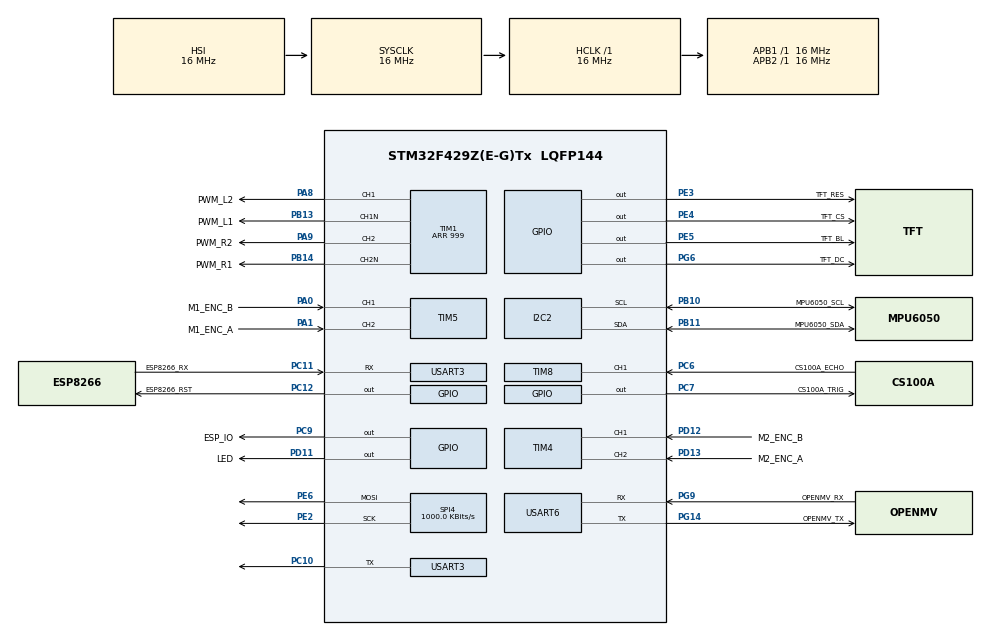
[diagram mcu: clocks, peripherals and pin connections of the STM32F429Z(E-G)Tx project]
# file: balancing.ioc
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Dma.Request0=USART3_RX
Dma.Request1=USART6_RX
Dma.USART3_RX.0.Direction=DMA_PERIPH_TO_MEMORY
Dma.USART3_RX.0.FIFOMode=DMA_FIFOMODE_DISABLE
Dma.USART3_RX.0.Instance=DMA1_Stream1
Dma.USART3_RX.0.MemDataAlignment=DMA_MDATAALIGN_BYTE
Dma.USART3_RX.0.MemInc=DMA_MINC_ENABLE
Dma.USART3_RX.0.Mode=DMA_CIRCULAR
Dma.USART3_RX.0.PeriphDataAlignment=DMA_PDATAALIGN_BYTE
Dma.USART3_RX.0.PeriphInc=DMA_PINC_DISABLE
Dma.USART3_RX.0.Priority=DMA_PRIORITY_LOW
Dma.USART6_RX.1.Direction=DMA_PERIPH_TO_MEMORY
Dma.USART6_RX.1.FIFOMode=DMA_FIFOMODE_DISABLE
Dma.USART6_RX.1.Instance=DMA2_Stream1
Dma.USART6_RX.1.MemDataAlignment=DMA_MDATAALIGN_BYTE
Dma.USART6_RX.1.MemInc=DMA_MINC_ENABLE
Dma.USART6_RX.1.Mode=DMA_CIRCULAR
Dma.USART6_RX.1.PeriphDataAlignment=DMA_PDATAALIGN_BYTE
Dma.USART6_RX.1.PeriphInc=DMA_PINC_DISABLE
Dma.USART6_RX.1.Priority=DMA_PRIORITY_LOW
FREERTOS.Tasks01=defaultTask,24,128,StartDefaultTask,Default,NULL,Dynamic,NULL,NULL
FREERTOS.configUSE_NEWLIB_REENTRANT=1
I2C2.I2C_Mode=I2C_Fast
Mcu.Family=STM32F4
Mcu.Name=STM32F429Z(E-G)Tx
Mcu.Package=LQFP144
NVIC.DMA1_Stream1_IRQn=true\:5\:0\:false\:false\:true\:true\:false\:true\:true
NVIC.DMA2_Stream1_IRQn=true\:5\:0\:false\:false\:true\:true\:false\:true\:true
NVIC.PriorityGroup=NVIC_PRIORITYGROUP_4
NVIC.TIM2_IRQn=true\:5\:0\:false\:false\:true\:true\:true\:true\:true
NVIC.TIM6_DAC_IRQn=true\:15\:0\:false\:false\:true\:false\:false\:true\:true
NVIC.TIM8_CC_IRQn=true\:5\:0\:false\:false\:true\:true\:true\:true\:true
NVIC.TimeBase=TIM6_DAC_IRQn
NVIC.TimeBaseIP=TIM6
NVIC.USART3_IRQn=true\:5\:0\:false\:false\:true\:true\:true\:true\:true
NVIC.USART6_IRQn=true\:5\:0\:false\:false\:true\:true\:true\:true\:true
PA0/WKUP.GPIO_Label=M1_ENC_B
PA0/WKUP.Signal=S_TIM5_CH1
PA1.GPIO_Label=M1_ENC_A
PA1.Signal=S_TIM5_CH2
PA13.Mode=Serial_Wire
PA13.Signal=SYS_JTMS-SWDIO
PA14.Mode=Serial_Wire
PA14.Signal=SYS_JTCK-SWCLK
PA8.GPIO_Label=PWM_L2
PA8.Signal=S_TIM1_CH1
PA9.GPIO_Label=PWM_R2
PA9.Signal=S_TIM1_CH2
PB10.GPIO_Label=MPU6050_SCL
PB10.Mode=I2C
PB10.Signal=I2C2_SCL
PB11.GPIO_Label=MPU6050_SDA
PB11.Mode=I2C
PB11.Signal=I2C2_SDA
PB13.GPIO_Label=PWM_L1
PB13.Mode=PWM Generation1 CH1 CH1N
PB13.Signal=TIM1_CH1N
PB14.GPIO_Label=PWM_R1
PB14.Mode=PWM Generation2 CH2 CH2N
PB14.Signal=TIM1_CH2N
PC10.Mode=Asynchronous
PC10.Signal=USART3_TX
PC11.GPIO_Label=ESP8266_RX
PC11.Mode=Asynchronous
PC11.Signal=USART3_RX
PC12.GPIO_Label=ESP8266_RST
PC12.Signal=GPIO_Output
PC6.GPIO_Label=CS100A_ECHO
PC6.Signal=S_TIM8_CH1
PC7.GPIO_Label=CS100A_TRIG
PC7.Signal=GPIO_Output
PC9.GPIO_Label=ESP_IO
PC9.Signal=GPIO_Output
PD11.GPIO_Label=LED
PD11.PinState=GPIO_PIN_SET
PD11.Signal=GPIO_Output
PD12.GPIO_Label=M2_ENC_B
PD12.Signal=S_TIM4_CH1
PD13.GPIO_Label=M2_ENC_A
PD13.Signal=S_TIM4_CH2
PE2.Mode=TX_Only_Simplex_Unidirect_Master
PE2.Signal=SPI4_SCK
PE3.GPIO_Label=TFT_RES
PE3.Signal=GPIO_Output
PE4.GPIO_Label=TFT_CS
PE4.Signal=GPIO_Output
PE5.GPIO_Label=TFT_BL
PE5.Signal=GPIO_Output
PE6.Mode=TX_Only_Simplex_Unidirect_Master
PE6.Signal=SPI4_MOSI
PG14.GPIO_Label=OPENMV_TX
PG14.Mode=Asynchronous
PG14.Signal=USART6_TX
PG6.GPIO_Label=TFT_DC
PG6.Signal=GPIO_Output
PG9.GPIO_Label=OPENMV_RX
PG9.Mode=Asynchronous
PG9.Signal=USART6_RX
ProjectManager.HeapSize=0x200
ProjectManager.StackSize=0x400
ProjectManager.TargetToolchain=STM32CubeIDE
RCC.AHBFreq_Value=16000000
RCC.APB1Freq_Value=16000000
RCC.APB2Freq_Value=16000000
RCC.CortexFreq_Value=16000000
RCC.HSE_VALUE=25000000
RCC.HSI_VALUE=16000000
RCC.LSE_VALUE=32768
RCC.SYSCLKFreq_VALUE=16000000
RCC.VCOOutputFreq_Value=192000000
SH.S_TIM1_CH1.0=TIM1_CH1,PWM Generation1 CH1 CH1N
SH.S_TIM1_CH2.0=TIM1_CH2,PWM Generation2 CH2 CH2N
SH.S_TIM4_CH1.0=TIM4_CH1,Encoder_Interface
SH.S_TIM4_CH2.0=TIM4_CH2,Encoder_Interface
SH.S_TIM5_CH1.0=TIM5_CH1,Encoder_Interface
SH.S_TIM5_CH2.0=TIM5_CH2,Encoder_Interface
SH.S_TIM8_CH1.0=TIM8_CH1,Input_Capture1_from_TI1
SPI4.BaudRatePrescaler=SPI_BAUDRATEPRESCALER_16
SPI4.CalculateBaudRate=1000.0 KBits/s
SPI4.Direction=SPI_DIRECTION_2LINES
SPI4.Mode=SPI_MODE_MASTER
SPI4.VirtualType=VM_MASTER
TIM1.Channel-PWM\ Generation1\ CH1\ CH1N=TIM_CHANNEL_1
TIM1.Channel-PWM\ Generation2\ CH2\ CH2N=TIM_CHANNEL_2
TIM1.DeadTime=10
TIM1.LockLevel=TIM_LOCKLEVEL_1
TIM1.OCIdleState_1=TIM_OCIDLESTATE_RESET
TIM1.OffStateIDLEMode=TIM_OSSI_ENABLE
TIM1.OffStateRunMode=TIM_OSSR_ENABLE
TIM1.Period=999
TIM2.Period=31999
TIM4.EncoderMode=TIM_ENCODERMODE_TI12
TIM4.IC1Filter=5
TIM4.IC2Filter=5
TIM5.EncoderMode=TIM_ENCODERMODE_TI12
TIM5.IC1Filter=5
TIM5.IC2Filter=5
TIM8.Channel-Input_Capture1_from_TI1=TIM_CHANNEL_1
TIM8.ICPolarity_CH1=TIM_INPUTCHANNELPOLARITY_BOTHEDGE
USART3.VirtualMode=VM_ASYNC
USART6.VirtualMode=VM_ASYNC
VP_FREERTOS_VS_CMSIS_V2.Mode=CMSIS_V2
VP_SYS_VS_tim6.Mode=TIM6
VP_TIM1_VS_ClockSourceINT.Mode=Internal
VP_TIM2_VS_ClockSourceINT.Mode=Internal
VP_TIM8_VS_ClockSourceINT.Mode=Internal
board=custom

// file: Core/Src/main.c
/* USER CODE BEGIN Header */
/**
  ******************************************************************************
  * @file           : main.c
  * @brief          : Main program body
  ******************************************************************************
  * @attention
  *
  * Copyright (c) 2026 STMicroelectronics.
  * All rights reserved.
  *
  * This software is licensed under terms that can be found in the LICENSE file
  * in the root directory of this software component.
  * If no LICENSE file comes with this software, it is provided AS-IS.
  *
  ******************************************************************************
  */
/* USER CODE END Header */
#include "main.h"
#include "cmsis_os.h"
#include "dma.h"
#include "i2c.h"
#include "spi.h"
#include "tim.h"
#include "usart.h"
#include "gpio.h"

/* USER CODE BEGIN Includes */
#include "sensorConfig.h"
#include "sensor.h"
#include "global_def.h"
#include "remote_ctrl.h"
#include<string.h>
#include "lcd.h"
/* USER CODE END Includes */

/* USER CODE BEGIN PV */
SensorData_t g_sensor_data = {0};
volatile Wifi_Cmd   g_wifi_cmd = {0};
volatile Move_Cmd   g_vision_cmd = {0};
/* USER CODE END PV */

void SystemClock_Config(void);
void MX_FREERTOS_Init(void);

/* USER CODE BEGIN 0 */

static void System_Init(void)
{
	MPU6050_Init();
	HAL_Delay(500);   /* wait for MPU6050 to wake up after power-on */
	MPU6050_CalibratePitch();
	Robot_Init();
	Vision_Init();
	Wifi_Init();

	HAL_TIM_Encoder_Start(&htim4, TIM_CHANNEL_ALL);
	HAL_TIM_Encoder_Start(&htim5, TIM_CHANNEL_ALL);
	__HAL_TIM_SET_COMPARE(&htim1, TIM_CHANNEL_1, PWM_PERIOD / 2);
	__HAL_TIM_SET_COMPARE(&htim1, TIM_CHANNEL_2, PWM_PERIOD / 2);
	HAL_TIM_PWM_Start(&htim1, TIM_CHANNEL_1);
	HAL_TIM_PWM_Start(&htim1, TIM_CHANNEL_2);
	HAL_TIMEx_PWMN_Start(&htim1, TIM_CHANNEL_1);
	HAL_TIMEx_PWMN_Start(&htim1, TIM_CHANNEL_2);
	HAL_TIM_IC_Start_IT(&htim8, TIM_CHANNEL_1);
	HAL_TIM_Base_Start_IT(&htim2);

}

/* USER CODE END 0 */

int main(void)
{

  /* MCU Configuration--------------------------------------------------------*/

  /* Reset of all peripherals, Initializes the Flash interface and the Systick. */
  HAL_Init();

  /* Configure the system clock */
  SystemClock_Config();

  /* Initialize all configured peripherals */
  MX_GPIO_Init();
  MX_DMA_Init();
  MX_TIM2_Init();
  MX_TIM5_Init();
  MX_USART3_UART_Init();
  MX_USART6_UART_Init();
  MX_I2C2_Init();
  MX_TIM1_Init();
  MX_TIM8_Init();
  MX_TIM4_Init();
  MX_SPI4_Init();
  /* USER CODE BEGIN 2 */
  LCD_Init();
  LCD_Clear(BLACK);

  System_Init();
  /* USER CODE END 2 */

  /* Init scheduler */
  osKernelInitialize();  /* Call init function for freertos objects (in cmsis_os2.c) */
  MX_FREERTOS_Init();

  /* Start scheduler */
  osKernelStart();

  /* We should never get here as control is now taken by the scheduler */

  /* Infinite loop */
  while (1)
  {

  }
}

void SystemClock_Config(void)
{
  RCC_OscInitTypeDef RCC_OscInitStruct = {0};
  RCC_ClkInitTypeDef RCC_ClkInitStruct = {0};

  /** Configure the main internal regulator output voltage
  */
  __HAL_RCC_PWR_CLK_ENABLE();
  __HAL_PWR_VOLTAGESCALING_CONFIG(PWR_REGULATOR_VOLTAGE_SCALE3);

  /** Initializes the RCC Oscillators according to the specified parameters
  * in the RCC_OscInitTypeDef structure.
  */
  RCC_OscInitStruct.OscillatorType = RCC_OSCILLATORTYPE_HSI;
  RCC_OscInitStruct.HSIState = RCC_HSI_ON;
  RCC_OscInitStruct.HSICalibrationValue = RCC_HSICALIBRATION_DEFAULT;
  RCC_OscInitStruct.PLL.PLLState = RCC_PLL_NONE;
  if (HAL_RCC_OscConfig(&RCC_OscInitStruct) != HAL_OK)
  {
    Error_Handler();
  }

  /** Initializes the CPU, AHB and APB buses clocks
  */
  RCC_ClkInitStruct.ClockType = RCC_CLOCKTYPE_HCLK|RCC_CLOCKTYPE_SYSCLK
                              |RCC_CLOCKTYPE_PCLK1|RCC_CLOCKTYPE_PCLK2;
  RCC_ClkInitStruct.SYSCLKSource = RCC_SYSCLKSOURCE_HSI;
  RCC_ClkInitStruct.AHBCLKDivider = RCC_SYSCLK_DIV1;
  RCC_ClkInitStruct.APB1CLKDivider = RCC_HCLK_DIV1;
  RCC_ClkInitStruct.APB2CLKDivider = RCC_HCLK_DIV1;

  if (HAL_RCC_ClockConfig(&RCC_ClkInitStruct, FLASH_LATENCY_0) != HAL_OK)
  {
    Error_Handler();
  }
}

/* USER CODE BEGIN 4 */
void HAL_TIM_IC_CaptureCallback(TIM_HandleTypeDef *htim){
	if (htim->Instance == TIM8 && htim->Channel == HAL_TIM_ACTIVE_CHANNEL_1) {
		uint32_t capture = HAL_TIM_ReadCapturedValue(htim, TIM_CHANNEL_1);

		if (HAL_GPIO_ReadPin(CS100A_ECHO_GPIO_Port, CS100A_ECHO_Pin) == GPIO_PIN_SET) {
			/* Rising edge: ECHO went high, record start time */
			g_sensor_data.csa.echo_start = capture;
		} else {
			/* Falling edge: ECHO went low, compute pulse width */
			if (capture >= g_sensor_data.csa.echo_start) {
				g_sensor_data.csa.echo_width = capture - g_sensor_data.csa.echo_start;
			}
			g_sensor_data.csa.echo_ready = 1;
		}
	}
}
/* USER CODE END 4 */

void HAL_TIM_PeriodElapsedCallback(TIM_HandleTypeDef *htim)
{
  if (htim->Instance == TIM6)
  {
    HAL_IncTick();
  }
  /* USER CODE BEGIN Callback 1 */
  if(htim->Instance==SENSOR_TIM_INSTANCE){
	  collect_data(&g_sensor_data);
  }
  /* USER CODE END Callback 1 */
}

void Error_Handler(void)
{
  __disable_irq();
  while (1)
  {
  }
}

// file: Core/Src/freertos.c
/* USER CODE BEGIN Header */
/**
  ******************************************************************************
  * File Name          : freertos.c
  * Description        : Code for freertos applications
  ******************************************************************************
  * @attention
  *
  * Copyright (c) 2026 STMicroelectronics.
  * All rights reserved.
  *
  * This software is licensed under terms that can be found in the LICENSE file
  * in the root directory of this software component.
  * If no LICENSE file comes with this software, it is provided AS-IS.
  *
  ******************************************************************************
  */
/* USER CODE END Header */

#include "FreeRTOS.h"
#include "task.h"
#include "main.h"
#include "cmsis_os.h"

/* USER CODE BEGIN Includes */
#include "motor.h"
/* USER CODE END Includes */

/* Definitions for defaultTask */
osThreadId_t defaultTaskHandle;
const osThreadAttr_t defaultTask_attributes = {
  .name = "defaultTask",
  .stack_size = 128 * 4,
  .priority = (osPriority_t) osPriorityNormal,
};

void StartDefaultTask(void *argument);

void MX_FREERTOS_Init(void); /* (MISRA C 2004 rule 8.1) */

void MX_FREERTOS_Init(void) {

  /* Create the thread(s) */
  /* creation of defaultTask */
  defaultTaskHandle = osThreadNew(StartDefaultTask, NULL, &defaultTask_attributes);

  /* USER CODE BEGIN RTOS_THREADS */
  /* add threads, ... */
  MotorTask_Create();
  /* USER CODE END RTOS_THREADS */

}

void StartDefaultTask(void *argument)
{
  for(;;)
  {
    osDelay(1);
  }
}
